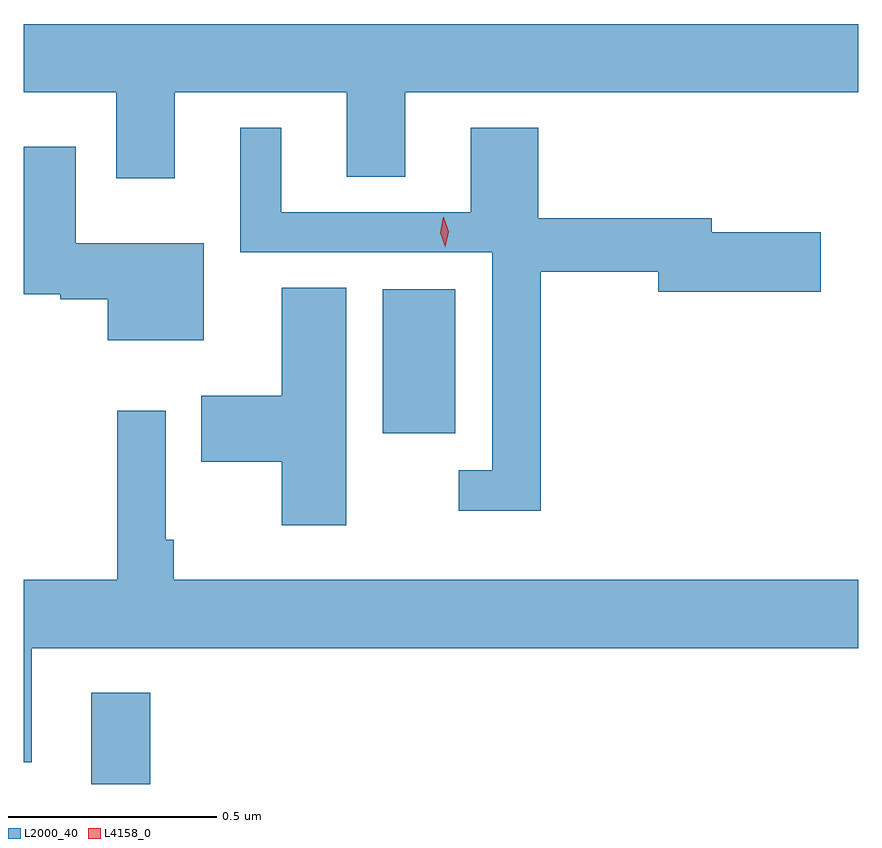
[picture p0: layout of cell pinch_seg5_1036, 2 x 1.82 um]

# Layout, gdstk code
import gdstk
lib = gdstk.Library(unit=1e-6, precision=1e-09)
def R(c, l, rs):  # rectangles x0, y0, x1, y1
    for r in rs: c.add(gdstk.rectangle(r[:2], r[2:], *l))
def P(c, l, *ps):  # polygons
    for p in ps: c.add(gdstk.Polygon(p, *l))
L2000_40 = (2000, 40)
L4158_0 = (4158, 0)

pinch_seg5_1036 = lib.new_cell('pinch_seg5_1036')
R(pinch_seg5_1036, L2000_40, [(718.541,841.783,718.682,842.002), (719.24,842.624,719.413,842.968)])
P(pinch_seg5_1036, L2000_40, [(718.741,843.44),(719.153,843.44),(719.153,843.238),(719.293,843.238),(719.293,843.44),(720.379,843.44),(720.379,843.604),(718.379,843.604),(718.379,843.44),(718.601,843.44),(718.601,843.234),(718.741,843.234)],
  [(719.618,843.01),(719.9,843.01),(719.9,842.963),(720.289,842.963),(720.289,843.105),(720.028,843.105),(720.028,843.139),(719.612,843.139),(719.612,843.355),(719.45,843.355),(719.45,843.153),(718.996,843.153),(718.996,843.355),(718.898,843.355),(718.898,843.057),(719.502,843.057),(719.502,842.535),(719.421,842.535),(719.421,842.438),(719.618,842.438)],
  [(718.81,843.079),(718.504,843.079),(718.504,843.31),(718.379,843.31),(718.379,842.957),(718.467,842.957),(718.467,842.945),(718.58,842.945),(718.58,842.846),(718.81,842.846)],
  [(719.152,842.972),(718.997,842.972),(718.997,842.713),(718.804,842.713),(718.804,842.555),(718.997,842.555),(718.997,842.403),(719.152,842.403)],
  [(718.399,842.108),(720.379,842.108),(720.379,842.272),(718.739,842.272),(718.739,842.368),(718.719,842.368),(718.719,842.677),(718.603,842.677),(718.603,842.272),(718.379,842.272),(718.379,841.835),(718.399,841.835)])
P(pinch_seg5_1036, L4158_0, [(719.389,843.069),(719.389,843.07),(719.377,843.104),(719.384,843.141),(719.384,843.141),(719.385,843.141),(719.397,843.106),(719.389,843.07)])

lib.write_gds('pinch_seg5_1036.gds')
